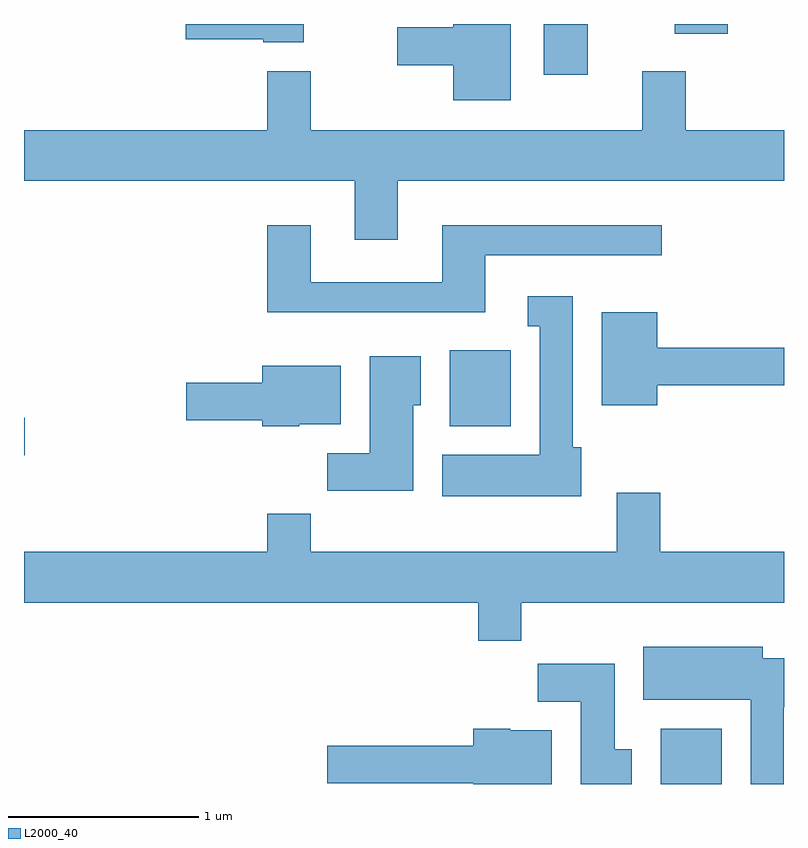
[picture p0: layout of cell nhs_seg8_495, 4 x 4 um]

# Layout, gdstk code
import gdstk
lib = gdstk.Library(unit=1e-6, precision=1e-09)
def R(c, l, rs):  # rectangles x0, y0, x1, y1
    for r in rs: c.add(gdstk.rectangle(r[:2], r[2:], *l))
def P(c, l, *ps):  # polygons
    for p in ps: c.add(gdstk.Polygon(p, *l))
L2000_40 = (2000, 40)

nhs_seg8_495 = lib.new_cell('nhs_seg8_495')
R(nhs_seg8_495, L2000_40, [(202.961,1844.342,203.284,1844.634), (199.611,1846.071,199.614,1846.269), (201.851,1846.226,202.174,1846.624), (202.346,1848.076,202.579,1848.342), (203.036,1848.291,203.314,1848.342)])
P(nhs_seg8_495, L2000_40, [(202.174,1848.342),(201.871,1848.342),(201.871,1848.324),(201.576,1848.324),(201.576,1848.126),(201.871,1848.126),(201.871,1847.941),(202.174,1847.941)],
  [(201.084,1848.342),(200.461,1848.342),(200.461,1848.261),(200.87,1848.261),(200.87,1848.246),(201.084,1848.246)],
  [(201.579,1847.516),(203.611,1847.516),(203.611,1847.784),(203.094,1847.784),(203.094,1848.094),(202.866,1848.094),(202.866,1847.784),(201.119,1847.784),(201.119,1848.094),(200.891,1848.094),(200.891,1847.784),(199.611,1847.784),(199.611,1847.516),(201.351,1847.516),(201.351,1847.206),(201.579,1847.206)],
  [(202.039,1847.126),(202.968,1847.126),(202.968,1847.284),(201.811,1847.284),(201.811,1846.984),(201.119,1846.984),(201.119,1847.284),(200.891,1847.284),(200.891,1846.826),(202.039,1846.826)],
  [(202.544,1846.114),(202.499,1846.114),(202.499,1846.909),(202.263,1846.909),(202.263,1846.751),(202.326,1846.751),(202.326,1846.074),(201.811,1846.074),(201.811,1845.856),(202.544,1845.856)],
  [(202.944,1846.441),(203.611,1846.441),(203.611,1846.639),(202.944,1846.639),(202.944,1846.824),(202.651,1846.824),(202.651,1846.336),(202.944,1846.336)],
  [(201.659,1846.336),(201.699,1846.336),(201.699,1846.594),(201.431,1846.594),(201.431,1846.084),(201.206,1846.084),(201.206,1845.886),(201.659,1845.886)],
  [(201.06,1846.236),(201.279,1846.236),(201.279,1846.544),(200.866,1846.544),(200.866,1846.454),(200.466,1846.454),(200.466,1846.256),(200.866,1846.256),(200.866,1846.226),(201.06,1846.226)],
  [(202.229,1845.296),(203.611,1845.296),(203.611,1845.564),(202.959,1845.564),(202.959,1845.874),(202.731,1845.874),(202.731,1845.564),(201.119,1845.564),(201.119,1845.764),(200.891,1845.764),(200.891,1845.564),(199.611,1845.564),(199.611,1845.296),(202.001,1845.296),(202.001,1845.096),(202.229,1845.096)],
  [(203.609,1844.746),(203.611,1844.746),(203.611,1845.004),(203.499,1845.004),(203.499,1845.064),(202.871,1845.064),(202.871,1844.786),(203.436,1844.786),(203.436,1844.342),(203.609,1844.342)],
  [(202.809,1844.524),(202.719,1844.524),(202.719,1844.974),(202.316,1844.974),(202.316,1844.776),(202.541,1844.776),(202.541,1844.342),(202.809,1844.342)],
  [(202.389,1844.624),(202.17,1844.624),(202.17,1844.634),(201.976,1844.634),(201.976,1844.544),(201.206,1844.544),(201.206,1844.346),(201.976,1844.346),(201.976,1844.342),(202.389,1844.342)])

lib.write_gds('nhs_seg8_495.gds')
